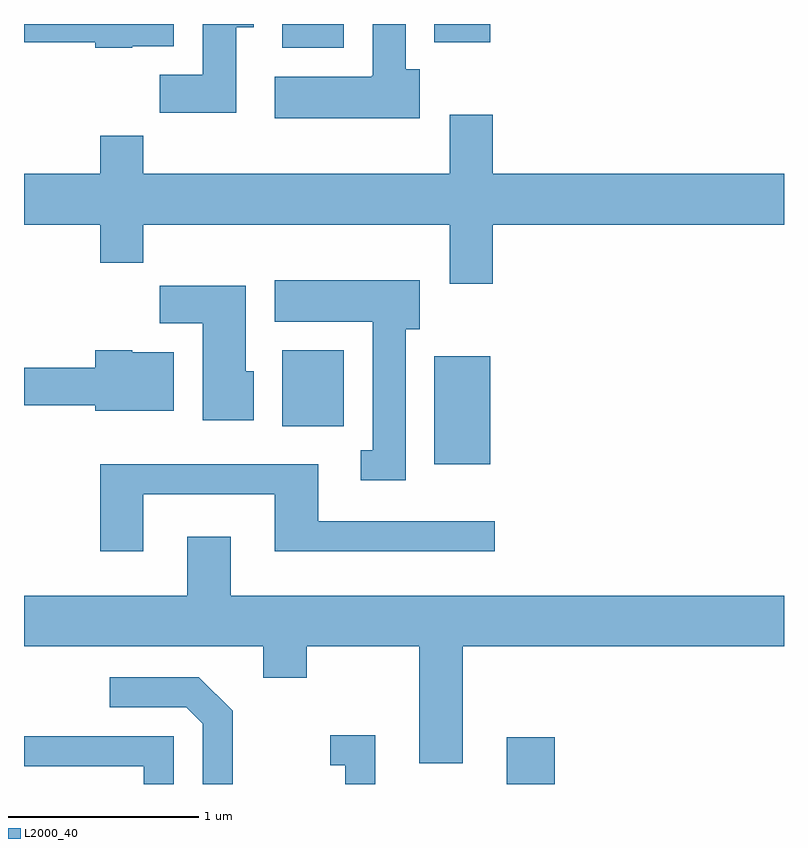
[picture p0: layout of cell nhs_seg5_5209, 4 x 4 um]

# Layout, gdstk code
import gdstk
lib = gdstk.Library(unit=1e-6, precision=1e-09)
def R(c, l, rs):  # rectangles x0, y0, x1, y1
    for r in rs: c.add(gdstk.rectangle(r[:2], r[2:], *l))
def P(c, l, *ps):  # polygons
    for p in ps: c.add(gdstk.Polygon(p, *l))
L2000_40 = (2000, 40)

nhs_seg5_5209 = lib.new_cell('nhs_seg5_5209')
R(nhs_seg5_5209, L2000_40, [(342.151,1456.072,342.404,1456.319), (341.771,1457.756,342.064,1458.324), (340.971,1457.956,341.294,1458.354), (340.971,1459.946,341.294,1460.072), (341.771,1459.976,342.064,1460.072)])
P(nhs_seg5_5209, L2000_40, [(341.694,1459.834),(341.619,1459.834),(341.619,1460.072),(341.446,1460.072),(341.446,1459.8),(341.44,1459.8),(341.44,1459.794),(340.931,1459.794),(340.931,1459.576),(341.694,1459.576)],
  [(340.729,1460.056),(340.819,1460.056),(340.819,1460.072),(340.551,1460.072),(340.551,1459.804),(340.326,1459.804),(340.326,1459.606),(340.729,1459.606)],
  [(340.18,1459.956),(340.399,1459.956),(340.399,1460.072),(339.611,1460.072),(339.611,1459.976),(339.986,1459.976),(339.986,1459.946),(340.18,1459.946)],
  [(342.079,1459.016),(343.611,1459.016),(343.611,1459.284),(342.079,1459.284),(342.079,1459.594),(341.851,1459.594),(341.851,1459.284),(340.239,1459.284),(340.239,1459.484),(340.011,1459.484),(340.011,1459.284),(339.611,1459.284),(339.611,1459.016),(340.011,1459.016),(340.011,1458.816),(340.239,1458.816),(340.239,1459.016),(341.851,1459.016),(341.851,1458.706),(342.079,1458.706)],
  [(341.619,1458.466),(341.694,1458.466),(341.694,1458.724),(340.931,1458.724),(340.931,1458.506),(341.446,1458.506),(341.446,1457.829),(341.383,1457.829),(341.383,1457.671),(341.619,1457.671)],
  [(340.819,1458.244),(340.779,1458.244),(340.779,1458.694),(340.326,1458.694),(340.326,1458.496),(340.551,1458.496),(340.551,1457.986),(340.819,1457.986)],
  [(340.399,1458.344),(340.18,1458.344),(340.18,1458.354),(339.986,1458.354),(339.986,1458.264),(339.611,1458.264),(339.611,1458.066),(339.986,1458.066),(339.986,1458.036),(340.399,1458.036)],
  [(340.239,1457.596),(340.931,1457.596),(340.931,1457.296),(342.088,1457.296),(342.088,1457.454),(341.159,1457.454),(341.159,1457.754),(340.011,1457.754),(340.011,1457.296),(340.239,1457.296)],
  [(341.919,1456.796),(343.611,1456.796),(343.611,1457.064),(340.699,1457.064),(340.699,1457.374),(340.471,1457.374),(340.471,1457.064),(339.611,1457.064),(339.611,1456.796),(340.871,1456.796),(340.871,1456.631),(341.099,1456.631),(341.099,1456.796),(341.691,1456.796),(341.691,1456.181),(341.919,1456.181)],
  [(340.709,1456.457),(340.532,1456.634),(340.063,1456.634),(340.063,1456.476),(340.464,1456.476),(340.551,1456.389),(340.551,1456.072),(340.709,1456.072)],
  [(341.459,1456.329),(341.223,1456.329),(341.223,1456.171),(341.301,1456.171),(341.301,1456.072),(341.459,1456.072)],
  [(340.399,1456.324),(339.611,1456.324),(339.611,1456.166),(340.241,1456.166),(340.241,1456.072),(340.399,1456.072)])

lib.write_gds('nhs_seg5_5209.gds')
